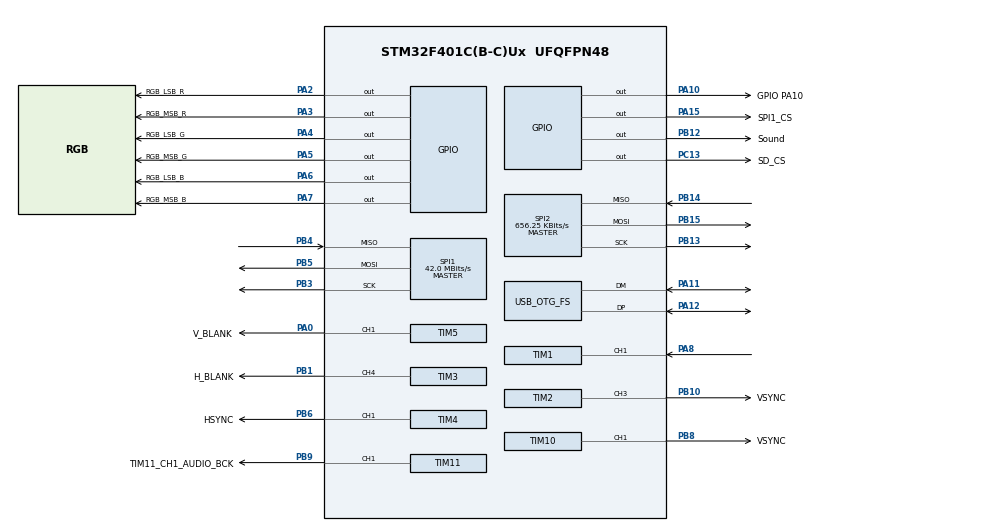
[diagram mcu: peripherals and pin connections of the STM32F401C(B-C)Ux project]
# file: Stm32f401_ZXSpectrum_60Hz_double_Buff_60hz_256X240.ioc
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Dma.Request0=TIM1_UP
Dma.TIM1_UP.0.Direction=DMA_MEMORY_TO_PERIPH
Dma.TIM1_UP.0.FIFOMode=DMA_FIFOMODE_DISABLE
Dma.TIM1_UP.0.Instance=DMA2_Stream5
Dma.TIM1_UP.0.MemDataAlignment=DMA_MDATAALIGN_WORD
Dma.TIM1_UP.0.MemInc=DMA_MINC_ENABLE
Dma.TIM1_UP.0.Mode=DMA_NORMAL
Dma.TIM1_UP.0.PeriphDataAlignment=DMA_PDATAALIGN_WORD
Dma.TIM1_UP.0.PeriphInc=DMA_PINC_DISABLE
Dma.TIM1_UP.0.Priority=DMA_PRIORITY_VERY_HIGH
Mcu.Family=STM32F4
Mcu.Name=STM32F401C(B-C)Ux
Mcu.Package=UFQFPN48
NVIC.OTG_FS_IRQn=true\:0\:0\:false\:false\:true\:true\:true\:true
NVIC.PriorityGroup=NVIC_PRIORITYGROUP_4
PA0-WKUP.GPIO_Label=V_BLANK
PA0-WKUP.Signal=S_TIM5_CH1
PA10.GPIO_Label=GPIO PA10
PA10.Signal=GPIO_Output
PA11.Mode=Host_Only
PA11.Signal=USB_OTG_FS_DM
PA12.Mode=Host_Only
PA12.Signal=USB_OTG_FS_DP
PA13.Mode=Serial_Wire
PA13.Signal=SYS_JTMS-SWDIO
PA14.Mode=Serial_Wire
PA14.Signal=SYS_JTCK-SWCLK
PA15.GPIO_Label=SPI1_CS
PA15.GPIO_Speed=GPIO_SPEED_FREQ_VERY_HIGH
PA15.PinState=GPIO_PIN_SET
PA15.Signal=GPIO_Output
PA2.GPIO_Label=RGB_LSB_R
PA2.GPIO_Speed=GPIO_SPEED_FREQ_VERY_HIGH
PA2.Signal=GPIO_Output
PA3.GPIO_Label=RGB_MSB_R
PA3.GPIO_Speed=GPIO_SPEED_FREQ_VERY_HIGH
PA3.Signal=GPIO_Output
PA4.GPIO_Label=RGB_LSB_G
PA4.GPIO_Speed=GPIO_SPEED_FREQ_VERY_HIGH
PA4.Signal=GPIO_Output
PA5.GPIO_Label=RGB_MSB_G
PA5.GPIO_Speed=GPIO_SPEED_FREQ_VERY_HIGH
PA5.Signal=GPIO_Output
PA6.GPIO_Label=RGB_LSB_B
PA6.GPIO_Speed=GPIO_SPEED_FREQ_VERY_HIGH
PA6.Signal=GPIO_Output
PA7.GPIO_Label=RGB_MSB_B
PA7.GPIO_Speed=GPIO_SPEED_FREQ_VERY_HIGH
PA7.Signal=GPIO_Output
PA8.Signal=S_TIM1_CH1
PB1.GPIO_Label=H_BLANK
PB1.Signal=S_TIM3_CH4
PB10.GPIO_Label=VSYNC
PB10.Signal=S_TIM2_CH3
PB12.GPIO_Label=Sound
PB12.GPIO_Speed=GPIO_SPEED_FREQ_MEDIUM
PB12.Signal=GPIO_Output
PB13.Mode=Full_Duplex_Master
PB13.Signal=SPI2_SCK
PB14.Mode=Full_Duplex_Master
PB14.Signal=SPI2_MISO
PB15.Mode=Full_Duplex_Master
PB15.Signal=SPI2_MOSI
PB3.Mode=Full_Duplex_Master
PB3.Signal=SPI1_SCK
PB4.Mode=Full_Duplex_Master
PB4.Signal=SPI1_MISO
PB5.Mode=Full_Duplex_Master
PB5.Signal=SPI1_MOSI
PB6.GPIO_Label=HSYNC
PB6.GPIO_Speed=GPIO_SPEED_FREQ_HIGH
PB6.Signal=S_TIM4_CH1
PB8.GPIO_Label=VSYNC
PB8.GPIO_Speed=GPIO_SPEED_FREQ_MEDIUM
PB8.Signal=S_TIM10_CH1
PB9.GPIO_Label=TIM11_CH1_AUDIO_BCK
PB9.GPIO_Speed=GPIO_SPEED_FREQ_HIGH
PB9.Signal=S_TIM11_CH1
PC13-ANTI_TAMP.GPIO_Label=SD_CS
PC13-ANTI_TAMP.Signal=GPIO_Output
PC14-OSC32_IN.Mode=LSE-External-Oscillator
PC14-OSC32_IN.Signal=RCC_OSC32_IN
PC15-OSC32_OUT.Mode=LSE-External-Oscillator
PC15-OSC32_OUT.Signal=RCC_OSC32_OUT
PH0\ -\ OSC_IN.Mode=HSE-External-Oscillator
PH0\ -\ OSC_IN.Signal=RCC_OSC_IN
PH1\ -\ OSC_OUT.Mode=HSE-External-Oscillator
PH1\ -\ OSC_OUT.Signal=RCC_OSC_OUT
ProjectManager.HeapSize=0x200
ProjectManager.StackSize=0x400
ProjectManager.TargetToolchain=STM32CubeIDE
RCC.48MHZClocksFreq_Value=48000000
RCC.AHBFreq_Value=84000000
RCC.APB1CLKDivider=RCC_HCLK_DIV2
RCC.APB1Freq_Value=42000000
RCC.APB1TimFreq_Value=84000000
RCC.APB2Freq_Value=84000000
RCC.APB2TimFreq_Value=84000000
RCC.CortexFreq_Value=84000000
RCC.HCLKFreq_Value=84000000
RCC.HSE_VALUE=25000000
RCC.HSI_VALUE=16000000
RCC.PLLM=25
RCC.PLLN=336
RCC.PLLP=RCC_PLLP_DIV4
RCC.PLLQ=7
RCC.SYSCLKFreq_VALUE=84000000
RCC.SYSCLKSource=RCC_SYSCLKSOURCE_PLLCLK
RCC.VCOOutputFreq_Value=336000000
SH.S_TIM10_CH1.0=TIM10_CH1,PWM Generation1 CH1
SH.S_TIM11_CH1.0=TIM11_CH1,PWM Generation1 CH1
SH.S_TIM1_CH1.0=TIM1_CH1,TriggerSource_TI1FP1
SH.S_TIM2_CH3.0=TIM2_CH3,PWM Generation3 CH3
SH.S_TIM3_CH4.0=TIM3_CH4,PWM Generation4 CH4
SH.S_TIM4_CH1.0=TIM4_CH1,PWM Generation1 CH1
SH.S_TIM5_CH1.0=TIM5_CH1,PWM Generation1 CH1
SPI1.CalculateBaudRate=42.0 MBits/s
SPI1.Direction=SPI_DIRECTION_2LINES
SPI1.Mode=SPI_MODE_MASTER
SPI1.VirtualType=VM_MASTER
SPI2.BaudRatePrescaler=SPI_BAUDRATEPRESCALER_64
SPI2.CalculateBaudRate=656.25 KBits/s
SPI2.Direction=SPI_DIRECTION_2LINES
SPI2.Mode=SPI_MODE_MASTER
SPI2.VirtualType=VM_MASTER
TIM1.Period=9
TIM1.Slave_TriggerPolarity=TIM_TRIGGERPOLARITY_FALLING
TIM1.TIM_MasterOutputTrigger=TIM_TRGO_UPDATE
TIM1.TIM_MasterSlaveMode=TIM_MASTERSLAVEMODE_DISABLE
TIM10.Channel=TIM_CHANNEL_1
TIM10.OCPolarity_1=TIM_OCPOLARITY_LOW
TIM10.Period=16694
TIM10.Prescaler=84-1
TIM10.Pulse=63
TIM11.Channel=TIM_CHANNEL_1
TIM11.Period=200-1
TIM11.Prescaler=84-1
TIM11.Pulse=100
TIM2.Channel-PWM\ Generation3\ CH3=TIM_CHANNEL_3
TIM2.OCPolarity_3=TIM_OCPOLARITY_LOW
TIM2.Period=524
TIM2.Pulse-PWM\ Generation3\ CH3=2
TIM2.TIM_MasterOutputTrigger=TIM_TRGO_UPDATE
TIM3.Channel-PWM\ Generation4\ CH4=TIM_CHANNEL_4
TIM3.OCPolarity_4=TIM_OCPOLARITY_HIGH
TIM3.Period=2844
TIM3.Prescaler=0
TIM3.Pulse-PWM\ Generation4\ CH4=262
TIM4.Channel-PWM\ Generation1\ CH1=TIM_CHANNEL_1
TIM4.OCPolarity_1=TIM_OCPOLARITY_LOW
TIM4.Period=2666
TIM4.Prescaler=0
TIM4.Pulse-PWM\ Generation1\ CH1=160
TIM4.TIM_MasterOutputTrigger=TIM_TRGO_UPDATE
TIM4.TIM_MasterSlaveMode=TIM_MASTERSLAVEMODE_DISABLE
TIM5.Channel-PWM\ Generation1\ CH1=TIM_CHANNEL_1
TIM5.OCPolarity_1=TIM_OCPOLARITY_HIGH
TIM5.Period=1354700
TIM5.Prescaler=0
TIM5.Pulse-PWM\ Generation1\ CH1=74700
TIM5.TIM_MasterOutputTrigger=TIM_TRGO_RESET
USB_HOST.BSP.number=1
USB_HOST.USBH_HandleTypeDef=hUsbHostFS
USB_HOST.VirtualModeFS=Hid
USB_HOST0.BSP.STBoard=false
USB_HOST0.BSP.api=Unknown
USB_HOST0.BSP.condition=SW_VBUS_DRIVE_HID_FS \= false
USB_HOST0.BSP.instance=PA10
USB_HOST0.BSP.ip=GPIO
USB_HOST0.BSP.mode=Output
USB_HOST0.BSP.name=Drive_VBUS_FS
USB_HOST0.BSP.solution=PA10
USB_OTG_FS.VirtualMode=Host_Only
USB_OTG_FS.phy_itface=HCD_PHY_EMBEDDED
VP_TIM10_VS_ClockSourceINT.Mode=Enable_Timer
VP_TIM11_VS_ClockSourceINT.Mode=Enable_Timer
VP_TIM1_VS_ClockSourceINT.Mode=Internal
VP_TIM1_VS_ControllerModeGated.Mode=Gated Mode
VP_TIM2_VS_ClockSourceITR.Mode=TriggerSource_ITR3
VP_TIM2_VS_ControllerModeClock.Mode=Clock Mode
VP_TIM3_VS_ClockSourceINT.Mode=Internal
VP_TIM3_VS_ClockSourceITR.Mode=TriggerSource_ITR3
VP_TIM3_VS_ControllerModeTrigger.Mode=Trigger Mode
VP_TIM3_VS_OPM.Mode=OPM_bit
VP_TIM4_VS_ClockSourceINT.Mode=Internal
VP_TIM5_VS_ClockSourceINT.Mode=Internal
VP_TIM5_VS_ClockSourceITR.Mode=TriggerSource_ITR0
VP_TIM5_VS_ControllerModeTrigger.Mode=Trigger Mode
VP_TIM5_VS_OPM.Mode=OPM_bit
VP_USB_HOST_VS_USB_HOST_HID_FS.Mode=HID_FS
board=custom

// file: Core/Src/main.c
/* USER CODE BEGIN Header */
/**
  ******************************************************************************
  * @file           : main.c
  * @brief          : Main program body
  ******************************************************************************
  * @attention
  *
  * Copyright (c) 2026 STMicroelectronics.
  * All rights reserved.
  *
  * This software is licensed under terms that can be found in the LICENSE file
  * in the root directory of this software component.
  * If no LICENSE file comes with this software, it is provided AS-IS.
  *
  ******************************************************************************
  */
/* USER CODE END Header */
#include "main.h"
#include "usb_host.h"

/* USER CODE BEGIN Includes */
#include "vga.h"
#include "spectrum.h"
#include "z80.h"
#include "video.h"
#include "vga_timing.h"

//#include "usbh_core.h"
#include "usbh_hid.h"
//#include "usbh_hid_keybd.h"
/* USER CODE END Includes */

/* USER CODE BEGIN PD */
#define REPEAT_DELAY_MS   400
#define BTN_STABLE_COUNT  3

#define BIT_A   0
#define BIT_B   1   // ×10
#define BIT_C   2   // T5 ARR
#define BIT_D   3   // ×100
#define BIT_E   4   // T3 CCR
#define BIT_F   5   // T5 CCR
#define BIT_G   6   // minus/plus toggle
#define BIT_H   7   // T3 ARR

/* USER CODE END PD */

/* USER CODE BEGIN PV */
int multiplier = 10;
static uint8_t sign_positive = 1;

#if 0
static uint8_t btn_last_raw = 0xFF;
static uint8_t btn_stable   = 0xFF;
static uint8_t btn_counter  = 0;

static uint32_t last_press_time[8] = {0};

static const int step_table[] = { 1, 10, 100, 1000 };
static uint8_t step_index = 0;
#endif
/* USER CODE END PV */

void SystemClock_Config(void);
static void MX_GPIO_Init(void);
static void MX_DMA_Init(void);
static void MX_SPI1_Init(void);
static void MX_SPI2_Init(void);
static void MX_TIM10_Init(void);
static void MX_TIM1_Init(void);
static void MX_TIM4_Init(void);
static void MX_TIM11_Init(void);
static void MX_TIM2_Init(void);
static void MX_TIM3_Init(void);
static void MX_TIM5_Init(void);
void MX_USB_HOST_Process(void);

/* USER CODE BEGIN PFP */

static inline void update_sign_led(void);
uint8_t button_repeat(uint8_t b);
void USBH_HID_EventCallback(USBH_HandleTypeDef *phost);
void Keyboard_HandleKey(uint8_t key);
//void getTimes(void);

//uint8_t Buttons_Get(void);
//static inline uint8_t Buttons_ReadRaw(void);
//static inline int get_multiplier(uint8_t b);
//static inline uint8_t button_repeat(uint8_t b, int bit);
//void Tuning_Update(void);

/* USER CODE END PFP */

/* USER CODE BEGIN 0 */
void USBH_HID_EventCallback(USBH_HandleTypeDef *phost)
{
#if 0
	//LL_GPIO_TogglePin(GPIOC, LL_GPIO_PIN_13);
	if (USBH_HID_GetDeviceType(phost) == HID_MOUSE)
	{
		HID_MOUSE_Info_TypeDef *Mouse_Info;
		Mouse_Info = USBH_HID_GetMouseInfo(phost);
		int X_VAL = Mouse_Info->x;
		int Y_VAL = Mouse_Info->y;
		if (X_VAL > 127) X_VAL -= 255;
		if (Y_VAL > 127) Y_VAL -= 255;

		int len = sprintf (Uart_Buf, "X=%d, Y=%d, Button1=%d, Button2=%d, Button3=%d\n", X_VAL, Y_VAL, \
				                                Mouse_Info->buttons[0],Mouse_Info->buttons[1], Mouse_Info->buttons[2]);
		HAL_UART_Transmit(&huart2, (uint8_t *)Uart_Buf, len, 1000);

	}
#endif
	if (USBH_HID_GetDeviceType(phost) == HID_KEYBOARD)
	{
		HID_KEYBD_Info_TypeDef *Keyboard_Info;
		Keyboard_Info = USBH_HID_GetKeybdInfo(phost);
		char key = USBH_HID_GetASCIICode (Keyboard_Info);

		//int len = sprintf (Uart_Buf, "Key Pressed = %c\n", key);
		//HAL_UART_Transmit(&huart2, (uint8_t *)Uart_Buf, len, 1000);
	    if (key != 0) {
	        Keyboard_HandleKey(key);
	    }
	}
}
/* USER CODE END 0 */

int main(void)
{

  /* MCU Configuration--------------------------------------------------------*/

  /* Reset of all peripherals, Initializes the Flash interface and the Systick. */
  HAL_Init();

  /* Configure the system clock */
  SystemClock_Config();

  /* Initialize all configured peripherals */
  MX_GPIO_Init();
  MX_DMA_Init();
  MX_SPI1_Init();
  MX_SPI2_Init();
  MX_TIM10_Init();
  MX_TIM1_Init();
  MX_TIM4_Init();
  MX_TIM11_Init();
  MX_TIM2_Init();
  MX_TIM3_Init();
  MX_TIM5_Init();
  MX_USB_HOST_Init();
  /* USER CODE BEGIN 2 */
  //uint16_t usb_poll_div = 0;
  getTimes();
  spectrum_init();
  vga_timing_init(); // TIM1/TIM3/TIM4 setup
  video_recompute_vertical_window();

  vga_init(); // DMA + pixel buffer setup

  vga_init_border_line();
  // Build a bar pattern directly into a packed buffer once
#if 0
  for (int i = 0; i < H_VISIBLE_PIX; i++)
  {
      uint8_t pix = (i & 0x20) ? 0x07 : 0x38;

      int r = (pix >> 0) & 3;
      int g = (pix >> 2) & 3;
      int b = (pix >> 4) & 3;

      flat[i] = VGA_PACK_RGB(r, g, b);
  }
#endif
  vga_timing_start(); // start pixel clock
  sync_to_vsync();

  //uint16_t last_line = 0;

  /* USER CODE END 2 */

  /* Infinite loop */
  /* USER CODE BEGIN WHILE */
  while (1)
  {

	  if (t5_cnt + margin >= activeFstart && t5_cnt < TIM5->ARR)
	  {
	      // We're close enough to active: start servicing lines
	      video_line_step();
	  }
#if 0

	  if (!LL_DMA_IsActiveFlag_TC5(DMA2) && dmaStarted)
	  {
		    LL_DMA_ClearFlag_TC5(DMA2);
		    if (repeat == swap_line)
		    {
		     swapBuffers();
		    }
		    ReArmDMA();
		    repeat ^= 1;
		    dmaStarted = 0;
      }
#endif

#if 0
	      if (GPIOA->IDR & V_BLANK_Pin)
	      {
	    	  video_update_osd_values();
	      }

	      // Only think about USB outside visible lines
	      // Poll USB once per 2 frames, near the top, outside visible area
	      //MX_USB_HOST_Process();

	      static uint16_t frame_counter = 0;

	      static uint8_t in_vblank = 0;

	      uint8_t usb_blank = (GPIOA->IDR & V_BLANK_Pin) ? 1 : 0;
	      if (usb_blank)
	      {
	    	  frame_counter++;
	      }

if (frame_counter == 2)
{
	frame_counter=0;
	      if (usb_blank)
	      {
	          // We are inside vblank: run USB as much as possible
	          MX_USB_HOST_Process();
	          in_vblank = 1;
	      }
	      else
	      {
	          // We just left vblank
	          in_vblank = 0;
	      }
}

    /* USER CODE END WHILE */
    MX_USB_HOST_Process();
#endif
  }
}

void SystemClock_Config(void)
{
  LL_FLASH_SetLatency(LL_FLASH_LATENCY_2);
  while(LL_FLASH_GetLatency()!= LL_FLASH_LATENCY_2)
  {
  }
  LL_PWR_SetRegulVoltageScaling(LL_PWR_REGU_VOLTAGE_SCALE2);
  LL_RCC_HSE_Enable();

   /* Wait till HSE is ready */
  while(LL_RCC_HSE_IsReady() != 1)
  {

  }
  LL_RCC_PLL_ConfigDomain_SYS(LL_RCC_PLLSOURCE_HSE, LL_RCC_PLLM_DIV_25, 336, LL_RCC_PLLP_DIV_4);
  LL_RCC_PLL_ConfigDomain_48M(LL_RCC_PLLSOURCE_HSE, LL_RCC_PLLM_DIV_25, 336, LL_RCC_PLLQ_DIV_7);
  LL_RCC_PLL_Enable();

   /* Wait till PLL is ready */
  while(LL_RCC_PLL_IsReady() != 1)
  {

  }
  while (LL_PWR_IsActiveFlag_VOS() == 0)
  {
  }
  LL_RCC_SetAHBPrescaler(LL_RCC_SYSCLK_DIV_1);
  LL_RCC_SetAPB1Prescaler(LL_RCC_APB1_DIV_2);
  LL_RCC_SetAPB2Prescaler(LL_RCC_APB2_DIV_1);
  LL_RCC_SetSysClkSource(LL_RCC_SYS_CLKSOURCE_PLL);

   /* Wait till System clock is ready */
  while(LL_RCC_GetSysClkSource() != LL_RCC_SYS_CLKSOURCE_STATUS_PLL)
  {

  }
  LL_SetSystemCoreClock(84000000);

   /* Update the time base */
  if (HAL_InitTick (TICK_INT_PRIORITY) != HAL_OK)
  {
    Error_Handler();
  }
  LL_RCC_SetTIMPrescaler(LL_RCC_TIM_PRESCALER_TWICE);
}

static void MX_SPI1_Init(void)
{

  LL_SPI_InitTypeDef SPI_InitStruct = {0};

  LL_GPIO_InitTypeDef GPIO_InitStruct = {0};

  /* Peripheral clock enable */
  LL_APB2_GRP1_EnableClock(LL_APB2_GRP1_PERIPH_SPI1);

  LL_AHB1_GRP1_EnableClock(LL_AHB1_GRP1_PERIPH_GPIOB);
  /**SPI1 GPIO Configuration
  PB3   ------> SPI1_SCK
  PB4   ------> SPI1_MISO
  PB5   ------> SPI1_MOSI
  */
  GPIO_InitStruct.Pin = LL_GPIO_PIN_3|LL_GPIO_PIN_4|LL_GPIO_PIN_5;
  GPIO_InitStruct.Mode = LL_GPIO_MODE_ALTERNATE;
  GPIO_InitStruct.Speed = LL_GPIO_SPEED_FREQ_VERY_HIGH;
  GPIO_InitStruct.OutputType = LL_GPIO_OUTPUT_PUSHPULL;
  GPIO_InitStruct.Pull = LL_GPIO_PULL_NO;
  GPIO_InitStruct.Alternate = LL_GPIO_AF_5;
  LL_GPIO_Init(GPIOB, &GPIO_InitStruct);

  /* SPI1 parameter configuration*/
  SPI_InitStruct.TransferDirection = LL_SPI_FULL_DUPLEX;
  SPI_InitStruct.Mode = LL_SPI_MODE_MASTER;
  SPI_InitStruct.DataWidth = LL_SPI_DATAWIDTH_8BIT;
  SPI_InitStruct.ClockPolarity = LL_SPI_POLARITY_LOW;
  SPI_InitStruct.ClockPhase = LL_SPI_PHASE_1EDGE;
  SPI_InitStruct.NSS = LL_SPI_NSS_SOFT;
  SPI_InitStruct.BaudRate = LL_SPI_BAUDRATEPRESCALER_DIV2;
  SPI_InitStruct.BitOrder = LL_SPI_MSB_FIRST;
  SPI_InitStruct.CRCCalculation = LL_SPI_CRCCALCULATION_DISABLE;
  SPI_InitStruct.CRCPoly = 10;
  LL_SPI_Init(SPI1, &SPI_InitStruct);
  LL_SPI_SetStandard(SPI1, LL_SPI_PROTOCOL_MOTOROLA);
  /* USER CODE BEGIN SPI1_Init 2 */
  LL_SPI_Enable(SPI1);
  /* USER CODE END SPI1_Init 2 */

}

static void MX_SPI2_Init(void)
{

  LL_SPI_InitTypeDef SPI_InitStruct = {0};

  LL_GPIO_InitTypeDef GPIO_InitStruct = {0};

  /* Peripheral clock enable */
  LL_APB1_GRP1_EnableClock(LL_APB1_GRP1_PERIPH_SPI2);

  LL_AHB1_GRP1_EnableClock(LL_AHB1_GRP1_PERIPH_GPIOB);
  /**SPI2 GPIO Configuration
  PB13   ------> SPI2_SCK
  PB14   ------> SPI2_MISO
  PB15   ------> SPI2_MOSI
  */
  GPIO_InitStruct.Pin = LL_GPIO_PIN_13|LL_GPIO_PIN_14|LL_GPIO_PIN_15;
  GPIO_InitStruct.Mode = LL_GPIO_MODE_ALTERNATE;
  GPIO_InitStruct.Speed = LL_GPIO_SPEED_FREQ_VERY_HIGH;
  GPIO_InitStruct.OutputType = LL_GPIO_OUTPUT_PUSHPULL;
  GPIO_InitStruct.Pull = LL_GPIO_PULL_NO;
  GPIO_InitStruct.Alternate = LL_GPIO_AF_5;
  LL_GPIO_Init(GPIOB, &GPIO_InitStruct);

  /* SPI2 parameter configuration*/
  SPI_InitStruct.TransferDirection = LL_SPI_FULL_DUPLEX;
  SPI_InitStruct.Mode = LL_SPI_MODE_MASTER;
  SPI_InitStruct.DataWidth = LL_SPI_DATAWIDTH_8BIT;
  SPI_InitStruct.ClockPolarity = LL_SPI_POLARITY_LOW;
  SPI_InitStruct.ClockPhase = LL_SPI_PHASE_1EDGE;
  SPI_InitStruct.NSS = LL_SPI_NSS_SOFT;
  SPI_InitStruct.BaudRate = LL_SPI_BAUDRATEPRESCALER_DIV64;
  SPI_InitStruct.BitOrder = LL_SPI_MSB_FIRST;
  SPI_InitStruct.CRCCalculation = LL_SPI_CRCCALCULATION_DISABLE;
  SPI_InitStruct.CRCPoly = 10;
  LL_SPI_Init(SPI2, &SPI_InitStruct);
  LL_SPI_SetStandard(SPI2, LL_SPI_PROTOCOL_MOTOROLA);

}

static void MX_TIM1_Init(void)
{

  LL_TIM_InitTypeDef TIM_InitStruct = {0};

  LL_GPIO_InitTypeDef GPIO_InitStruct = {0};

  /* Peripheral clock enable */
  LL_APB2_GRP1_EnableClock(LL_APB2_GRP1_PERIPH_TIM1);

  LL_AHB1_GRP1_EnableClock(LL_AHB1_GRP1_PERIPH_GPIOA);
  /**TIM1 GPIO Configuration
  PA8   ------> TIM1_CH1
  */
  GPIO_InitStruct.Pin = LL_GPIO_PIN_8;
  GPIO_InitStruct.Mode = LL_GPIO_MODE_ALTERNATE;
  GPIO_InitStruct.Speed = LL_GPIO_SPEED_FREQ_LOW;
  GPIO_InitStruct.OutputType = LL_GPIO_OUTPUT_PUSHPULL;
  GPIO_InitStruct.Pull = LL_GPIO_PULL_NO;
  GPIO_InitStruct.Alternate = LL_GPIO_AF_1;
  LL_GPIO_Init(GPIOA, &GPIO_InitStruct);

  /* TIM1 DMA Init */

  /* TIM1_UP Init */
  LL_DMA_SetChannelSelection(DMA2, LL_DMA_STREAM_5, LL_DMA_CHANNEL_6);

  LL_DMA_SetDataTransferDirection(DMA2, LL_DMA_STREAM_5, LL_DMA_DIRECTION_MEMORY_TO_PERIPH);

  LL_DMA_SetStreamPriorityLevel(DMA2, LL_DMA_STREAM_5, LL_DMA_PRIORITY_VERYHIGH);

  LL_DMA_SetMode(DMA2, LL_DMA_STREAM_5, LL_DMA_MODE_NORMAL);

  LL_DMA_SetPeriphIncMode(DMA2, LL_DMA_STREAM_5, LL_DMA_PERIPH_NOINCREMENT);

  LL_DMA_SetMemoryIncMode(DMA2, LL_DMA_STREAM_5, LL_DMA_MEMORY_INCREMENT);

  LL_DMA_SetPeriphSize(DMA2, LL_DMA_STREAM_5, LL_DMA_PDATAALIGN_WORD);

  LL_DMA_SetMemorySize(DMA2, LL_DMA_STREAM_5, LL_DMA_MDATAALIGN_WORD);

  LL_DMA_DisableFifoMode(DMA2, LL_DMA_STREAM_5);

  TIM_InitStruct.Prescaler = 0;
  TIM_InitStruct.CounterMode = LL_TIM_COUNTERMODE_UP;
  TIM_InitStruct.Autoreload = 9;
  TIM_InitStruct.ClockDivision = LL_TIM_CLOCKDIVISION_DIV1;
  TIM_InitStruct.RepetitionCounter = 0;
  LL_TIM_Init(TIM1, &TIM_InitStruct);
  LL_TIM_DisableARRPreload(TIM1);
  LL_TIM_SetClockSource(TIM1, LL_TIM_CLOCKSOURCE_INTERNAL);
  LL_TIM_SetTriggerInput(TIM1, LL_TIM_TS_TI1FP1);
  LL_TIM_SetSlaveMode(TIM1, LL_TIM_SLAVEMODE_GATED);
  LL_TIM_IC_SetFilter(TIM1, LL_TIM_CHANNEL_CH1, LL_TIM_IC_FILTER_FDIV1);
  LL_TIM_IC_SetPolarity(TIM1, LL_TIM_CHANNEL_CH1, LL_TIM_IC_POLARITY_FALLING);
  LL_TIM_DisableIT_TRIG(TIM1);
  LL_TIM_DisableDMAReq_TRIG(TIM1);
  LL_TIM_SetTriggerOutput(TIM1, LL_TIM_TRGO_UPDATE);
  LL_TIM_DisableMasterSlaveMode(TIM1);
  /* USER CODE BEGIN TIM1_Init 2 */
  LL_TIM_EnableCounter(TIM1);
  //LL_TIM_CC_EnableChannel(TIM1, LL_TIM_CHANNEL_CH2);
  LL_TIM_EnableAllOutputs(TIM1);
  LL_TIM_EnableDMAReq_UPDATE(TIM1);

  /* USER CODE END TIM1_Init 2 */

}

static void MX_TIM2_Init(void)
{

  LL_TIM_InitTypeDef TIM_InitStruct = {0};
  LL_TIM_OC_InitTypeDef TIM_OC_InitStruct = {0};

  LL_GPIO_InitTypeDef GPIO_InitStruct = {0};

  /* Peripheral clock enable */
  LL_APB1_GRP1_EnableClock(LL_APB1_GRP1_PERIPH_TIM2);

  TIM_InitStruct.Prescaler = 0;
  TIM_InitStruct.CounterMode = LL_TIM_COUNTERMODE_UP;
  TIM_InitStruct.Autoreload = 524;
  TIM_InitStruct.ClockDivision = LL_TIM_CLOCKDIVISION_DIV1;
  LL_TIM_Init(TIM2, &TIM_InitStruct);
  LL_TIM_DisableARRPreload(TIM2);
  LL_TIM_OC_EnablePreload(TIM2, LL_TIM_CHANNEL_CH3);
  TIM_OC_InitStruct.OCMode = LL_TIM_OCMODE_PWM1;
  TIM_OC_InitStruct.OCState = LL_TIM_OCSTATE_DISABLE;
  TIM_OC_InitStruct.OCNState = LL_TIM_OCSTATE_DISABLE;
  TIM_OC_InitStruct.CompareValue = 2;
  TIM_OC_InitStruct.OCPolarity = LL_TIM_OCPOLARITY_LOW;
  LL_TIM_OC_Init(TIM2, LL_TIM_CHANNEL_CH3, &TIM_OC_InitStruct);
  LL_TIM_OC_DisableFast(TIM2, LL_TIM_CHANNEL_CH3);
  LL_TIM_SetTriggerInput(TIM2, LL_TIM_TS_ITR3);
  LL_TIM_SetClockSource(TIM2, LL_TIM_CLOCKSOURCE_EXT_MODE1);
  LL_TIM_DisableIT_TRIG(TIM2);
  LL_TIM_DisableDMAReq_TRIG(TIM2);
  LL_TIM_SetTriggerOutput(TIM2, LL_TIM_TRGO_UPDATE);
  LL_TIM_DisableMasterSlaveMode(TIM2);
  /* USER CODE BEGIN TIM2_Init 2 */
  LL_TIM_CC_EnableChannel(TIM2, LL_TIM_CHANNEL_CH3);
  LL_TIM_EnableCounter(TIM2);

  /* USER CODE END TIM2_Init 2 */
  LL_AHB1_GRP1_EnableClock(LL_AHB1_GRP1_PERIPH_GPIOB);
  /**TIM2 GPIO Configuration
  PB10   ------> TIM2_CH3
  */
  GPIO_InitStruct.Pin = VSYNC_Pin;
  GPIO_InitStruct.Mode = LL_GPIO_MODE_ALTERNATE;
  GPIO_InitStruct.Speed = LL_GPIO_SPEED_FREQ_LOW;
  GPIO_InitStruct.OutputType = LL_GPIO_OUTPUT_PUSHPULL;
  GPIO_InitStruct.Pull = LL_GPIO_PULL_NO;
  GPIO_InitStruct.Alternate = LL_GPIO_AF_1;
  LL_GPIO_Init(VSYNC_GPIO_Port, &GPIO_InitStruct);

}

static void MX_TIM3_Init(void)
{

  LL_TIM_InitTypeDef TIM_InitStruct = {0};
  LL_TIM_OC_InitTypeDef TIM_OC_InitStruct = {0};

  LL_GPIO_InitTypeDef GPIO_InitStruct = {0};

  /* Peripheral clock enable */
  LL_APB1_GRP1_EnableClock(LL_APB1_GRP1_PERIPH_TIM3);

  /* USER CODE BEGIN TIM3_Init 1 */

  //old arr 2580;
  //old ccr 480

  /* USER CODE END TIM3_Init 1 */
  TIM_InitStruct.Prescaler = 0;
  TIM_InitStruct.CounterMode = LL_TIM_COUNTERMODE_UP;
  TIM_InitStruct.Autoreload = 2844;
  TIM_InitStruct.ClockDivision = LL_TIM_CLOCKDIVISION_DIV1;
  LL_TIM_Init(TIM3, &TIM_InitStruct);
  LL_TIM_DisableARRPreload(TIM3);
  LL_TIM_SetClockSource(TIM3, LL_TIM_CLOCKSOURCE_INTERNAL);
  LL_TIM_OC_EnablePreload(TIM3, LL_TIM_CHANNEL_CH4);
  TIM_OC_InitStruct.OCMode = LL_TIM_OCMODE_PWM1;
  TIM_OC_InitStruct.OCState = LL_TIM_OCSTATE_DISABLE;
  TIM_OC_InitStruct.OCNState = LL_TIM_OCSTATE_DISABLE;
  TIM_OC_InitStruct.CompareValue = 262;
  TIM_OC_InitStruct.OCPolarity = LL_TIM_OCPOLARITY_HIGH;
  LL_TIM_OC_Init(TIM3, LL_TIM_CHANNEL_CH4, &TIM_OC_InitStruct);
  LL_TIM_OC_DisableFast(TIM3, LL_TIM_CHANNEL_CH4);
  LL_TIM_SetOnePulseMode(TIM3, LL_TIM_ONEPULSEMODE_SINGLE);
  LL_TIM_SetTriggerInput(TIM3, LL_TIM_TS_ITR3);
  LL_TIM_SetSlaveMode(TIM3, LL_TIM_SLAVEMODE_TRIGGER);
  LL_TIM_DisableIT_TRIG(TIM3);
  LL_TIM_DisableDMAReq_TRIG(TIM3);
  LL_TIM_SetTriggerOutput(TIM3, LL_TIM_TRGO_RESET);
  LL_TIM_DisableMasterSlaveMode(TIM3);
  /* USER CODE BEGIN TIM3_Init 2 */

  LL_TIM_CC_EnableChannel(TIM3, LL_TIM_CHANNEL_CH4);
  LL_TIM_EnableCounter(TIM3);
  /* USER CODE END TIM3_Init 2 */
  LL_AHB1_GRP1_EnableClock(LL_AHB1_GRP1_PERIPH_GPIOB);
  /**TIM3 GPIO Configuration
  PB1   ------> TIM3_CH4
  */
  GPIO_InitStruct.Pin = H_BLANK_Pin;
  GPIO_InitStruct.Mode = LL_GPIO_MODE_ALTERNATE;
  GPIO_InitStruct.Speed = LL_GPIO_SPEED_FREQ_LOW;
  GPIO_InitStruct.OutputType = LL_GPIO_OUTPUT_PUSHPULL;
  GPIO_InitStruct.Pull = LL_GPIO_PULL_NO;
  GPIO_InitStruct.Alternate = LL_GPIO_AF_2;
  LL_GPIO_Init(H_BLANK_GPIO_Port, &GPIO_InitStruct);

}

static void MX_TIM4_Init(void)
{

  LL_TIM_InitTypeDef TIM_InitStruct = {0};
  LL_TIM_OC_InitTypeDef TIM_OC_InitStruct = {0};

  LL_GPIO_InitTypeDef GPIO_InitStruct = {0};

  /* Peripheral clock enable */
  LL_APB1_GRP1_EnableClock(LL_APB1_GRP1_PERIPH_TIM4);

  TIM_InitStruct.Prescaler = 0;
  TIM_InitStruct.CounterMode = LL_TIM_COUNTERMODE_UP;
  TIM_InitStruct.Autoreload = 2666;
  TIM_InitStruct.ClockDivision = LL_TIM_CLOCKDIVISION_DIV1;
  LL_TIM_Init(TIM4, &TIM_InitStruct);
  LL_TIM_DisableARRPreload(TIM4);
  LL_TIM_SetClockSource(TIM4, LL_TIM_CLOCKSOURCE_INTERNAL);
  LL_TIM_OC_EnablePreload(TIM4, LL_TIM_CHANNEL_CH1);
  TIM_OC_InitStruct.OCMode = LL_TIM_OCMODE_PWM1;
  TIM_OC_InitStruct.OCState = LL_TIM_OCSTATE_DISABLE;
  TIM_OC_InitStruct.OCNState = LL_TIM_OCSTATE_DISABLE;
  TIM_OC_InitStruct.CompareValue = 160;
  TIM_OC_InitStruct.OCPolarity = LL_TIM_OCPOLARITY_LOW;
  LL_TIM_OC_Init(TIM4, LL_TIM_CHANNEL_CH1, &TIM_OC_InitStruct);
  LL_TIM_OC_DisableFast(TIM4, LL_TIM_CHANNEL_CH1);
  LL_TIM_SetTriggerOutput(TIM4, LL_TIM_TRGO_UPDATE);
  LL_TIM_DisableMasterSlaveMode(TIM4);
  /* USER CODE BEGIN TIM4_Init 2 */

  TIM_OC_InitStruct.OCState = LL_TIM_OCSTATE_ENABLE;
  LL_TIM_EnableCounter(TIM4);
  LL_TIM_CC_EnableChannel(TIM4, LL_TIM_CHANNEL_CH1);
  LL_TIM_EnableIT_UPDATE(TIM4);

  /* USER CODE END TIM4_Init 2 */
  LL_AHB1_GRP1_EnableClock(LL_AHB1_GRP1_PERIPH_GPIOB);
  /**TIM4 GPIO Configuration
  PB6   ------> TIM4_CH1
  */
  GPIO_InitStruct.Pin = HSYNC_Pin;
  GPIO_InitStruct.Mode = LL_GPIO_MODE_ALTERNATE;
  GPIO_InitStruct.Speed = LL_GPIO_SPEED_FREQ_HIGH;
  GPIO_InitStruct.OutputType = LL_GPIO_OUTPUT_PUSHPULL;
  GPIO_InitStruct.Pull = LL_GPIO_PULL_NO;
  GPIO_InitStruct.Alternate = LL_GPIO_AF_2;
  LL_GPIO_Init(HSYNC_GPIO_Port, &GPIO_InitStruct);

}

static void MX_TIM5_Init(void)
{

  LL_TIM_InitTypeDef TIM_InitStruct = {0};
  LL_TIM_OC_InitTypeDef TIM_OC_InitStruct = {0};

  LL_GPIO_InitTypeDef GPIO_InitStruct = {0};

  /* Peripheral clock enable */
  LL_APB1_GRP1_EnableClock(LL_APB1_GRP1_PERIPH_TIM5);

  TIM_InitStruct.Prescaler = 0;
  TIM_InitStruct.CounterMode = LL_TIM_COUNTERMODE_UP;
  TIM_InitStruct.Autoreload = 1354700;
  TIM_InitStruct.ClockDivision = LL_TIM_CLOCKDIVISION_DIV1;
  LL_TIM_Init(TIM5, &TIM_InitStruct);
  LL_TIM_DisableARRPreload(TIM5);
  LL_TIM_SetClockSource(TIM5, LL_TIM_CLOCKSOURCE_INTERNAL);
  LL_TIM_OC_EnablePreload(TIM5, LL_TIM_CHANNEL_CH1);
  TIM_OC_InitStruct.OCMode = LL_TIM_OCMODE_PWM1;
  TIM_OC_InitStruct.OCState = LL_TIM_OCSTATE_DISABLE;
  TIM_OC_InitStruct.OCNState = LL_TIM_OCSTATE_DISABLE;
  TIM_OC_InitStruct.CompareValue = 74700;
  TIM_OC_InitStruct.OCPolarity = LL_TIM_OCPOLARITY_HIGH;
  LL_TIM_OC_Init(TIM5, LL_TIM_CHANNEL_CH1, &TIM_OC_InitStruct);
  LL_TIM_OC_DisableFast(TIM5, LL_TIM_CHANNEL_CH1);
  LL_TIM_SetOnePulseMode(TIM5, LL_TIM_ONEPULSEMODE_SINGLE);
  LL_TIM_SetTriggerInput(TIM5, LL_TIM_TS_ITR0);
  LL_TIM_SetSlaveMode(TIM5, LL_TIM_SLAVEMODE_TRIGGER);
  LL_TIM_DisableIT_TRIG(TIM5);
  LL_TIM_DisableDMAReq_TRIG(TIM5);
  LL_TIM_SetTriggerOutput(TIM5, LL_TIM_TRGO_RESET);
  LL_TIM_DisableMasterSlaveMode(TIM5);
  /* USER CODE BEGIN TIM5_Init 2 */

  LL_TIM_CC_EnableChannel(TIM5, LL_TIM_CHANNEL_CH1);
  LL_TIM_EnableCounter(TIM5);

  /* USER CODE END TIM5_Init 2 */
  LL_AHB1_GRP1_EnableClock(LL_AHB1_GRP1_PERIPH_GPIOA);
  /**TIM5 GPIO Configuration
  PA0-WKUP   ------> TIM5_CH1
  */
  GPIO_InitStruct.Pin = V_BLANK_Pin;
  GPIO_InitStruct.Mode = LL_GPIO_MODE_ALTERNATE;
  GPIO_InitStruct.Speed = LL_GPIO_SPEED_FREQ_LOW;
  GPIO_InitStruct.OutputType = LL_GPIO_OUTPUT_PUSHPULL;
  GPIO_InitStruct.Pull = LL_GPIO_PULL_NO;
  GPIO_InitStruct.Alternate = LL_GPIO_AF_2;
  LL_GPIO_Init(V_BLANK_GPIO_Port, &GPIO_InitStruct);

}

static void MX_TIM10_Init(void)
{

  LL_TIM_InitTypeDef TIM_InitStruct = {0};
  LL_TIM_OC_InitTypeDef TIM_OC_InitStruct = {0};

  LL_GPIO_InitTypeDef GPIO_InitStruct = {0};

  /* Peripheral clock enable */
  LL_APB2_GRP1_EnableClock(LL_APB2_GRP1_PERIPH_TIM10);

  TIM_InitStruct.Prescaler = 83;
  TIM_InitStruct.CounterMode = LL_TIM_COUNTERMODE_UP;
  TIM_InitStruct.Autoreload = 16694;
  TIM_InitStruct.ClockDivision = LL_TIM_CLOCKDIVISION_DIV1;
  LL_TIM_Init(TIM10, &TIM_InitStruct);
  LL_TIM_DisableARRPreload(TIM10);
  LL_TIM_OC_EnablePreload(TIM10, LL_TIM_CHANNEL_CH1);
  TIM_OC_InitStruct.OCMode = LL_TIM_OCMODE_PWM1;
  TIM_OC_InitStruct.OCState = LL_TIM_OCSTATE_DISABLE;
  TIM_OC_InitStruct.OCNState = LL_TIM_OCSTATE_DISABLE;
  TIM_OC_InitStruct.CompareValue = 63;
  TIM_OC_InitStruct.OCPolarity = LL_TIM_OCPOLARITY_LOW;
  LL_TIM_OC_Init(TIM10, LL_TIM_CHANNEL_CH1, &TIM_OC_InitStruct);
  LL_TIM_OC_DisableFast(TIM10, LL_TIM_CHANNEL_CH1);
  /* USER CODE BEGIN TIM10_Init 2 */
  LL_TIM_EnableCounter(TIM10);
  /* USER CODE END TIM10_Init 2 */
  LL_AHB1_GRP1_EnableClock(LL_AHB1_GRP1_PERIPH_GPIOB);
  /**TIM10 GPIO Configuration
  PB8   ------> TIM10_CH1
  */
  GPIO_InitStruct.Pin = VSYNCB8_Pin;
  GPIO_InitStruct.Mode = LL_GPIO_MODE_ALTERNATE;
  GPIO_InitStruct.Speed = LL_GPIO_SPEED_FREQ_MEDIUM;
  GPIO_InitStruct.OutputType = LL_GPIO_OUTPUT_PUSHPULL;
  GPIO_InitStruct.Pull = LL_GPIO_PULL_NO;
  GPIO_InitStruct.Alternate = LL_GPIO_AF_3;
  LL_GPIO_Init(VSYNCB8_GPIO_Port, &GPIO_InitStruct);

}

static void MX_TIM11_Init(void)
{

  LL_TIM_InitTypeDef TIM_InitStruct = {0};
  LL_TIM_OC_InitTypeDef TIM_OC_InitStruct = {0};

  LL_GPIO_InitTypeDef GPIO_InitStruct = {0};

  /* Peripheral clock enable */
  LL_APB2_GRP1_EnableClock(LL_APB2_GRP1_PERIPH_TIM11);

  TIM_InitStruct.Prescaler = 83;
  TIM_InitStruct.CounterMode = LL_TIM_COUNTERMODE_UP;
  TIM_InitStruct.Autoreload = 200-LL_TIM_IC_FILTER_FDIV1_N2;
  TIM_InitStruct.ClockDivision = LL_TIM_CLOCKDIVISION_DIV1;
  LL_TIM_Init(TIM11, &TIM_InitStruct);
  LL_TIM_DisableARRPreload(TIM11);
  LL_TIM_OC_EnablePreload(TIM11, LL_TIM_CHANNEL_CH1);
  TIM_OC_InitStruct.OCMode = LL_TIM_OCMODE_PWM1;
  TIM_OC_InitStruct.OCState = LL_TIM_OCSTATE_DISABLE;
  TIM_OC_InitStruct.OCNState = LL_TIM_OCSTATE_DISABLE;
  TIM_OC_InitStruct.CompareValue = 100;
  TIM_OC_InitStruct.OCPolarity = LL_TIM_OCPOLARITY_HIGH;
  LL_TIM_OC_Init(TIM11, LL_TIM_CHANNEL_CH1, &TIM_OC_InitStruct);
  LL_TIM_OC_DisableFast(TIM11, LL_TIM_CHANNEL_CH1);
  /* USER CODE BEGIN TIM11_Init 2 */
  LL_TIM_EnableCounter(TIM11);
  /* USER CODE END TIM11_Init 2 */
  LL_AHB1_GRP1_EnableClock(LL_AHB1_GRP1_PERIPH_GPIOB);
  /**TIM11 GPIO Configuration
  PB9   ------> TIM11_CH1
  */
  GPIO_InitStruct.Pin = TIM11_CH1_AUDIO_BCK_Pin;
  GPIO_InitStruct.Mode = LL_GPIO_MODE_ALTERNATE;
  GPIO_InitStruct.Speed = LL_GPIO_SPEED_FREQ_HIGH;
  GPIO_InitStruct.OutputType = LL_GPIO_OUTPUT_PUSHPULL;
  GPIO_InitStruct.Pull = LL_GPIO_PULL_NO;
  GPIO_InitStruct.Alternate = LL_GPIO_AF_3;
  LL_GPIO_Init(TIM11_CH1_AUDIO_BCK_GPIO_Port, &GPIO_InitStruct);

}

static void MX_DMA_Init(void)
{

  /* Init with LL driver */
  /* DMA controller clock enable */
  LL_AHB1_GRP1_EnableClock(LL_AHB1_GRP1_PERIPH_DMA2);

}

static void MX_GPIO_Init(void)
{
  LL_GPIO_InitTypeDef GPIO_InitStruct = {0};

  /* GPIO Ports Clock Enable */
  LL_AHB1_GRP1_EnableClock(LL_AHB1_GRP1_PERIPH_GPIOC);
  LL_AHB1_GRP1_EnableClock(LL_AHB1_GRP1_PERIPH_GPIOH);
  LL_AHB1_GRP1_EnableClock(LL_AHB1_GRP1_PERIPH_GPIOA);
  LL_AHB1_GRP1_EnableClock(LL_AHB1_GRP1_PERIPH_GPIOB);

  /**/
  LL_GPIO_ResetOutputPin(SD_CS_GPIO_Port, SD_CS_Pin);

  /**/
  LL_GPIO_ResetOutputPin(GPIOA, RGB_LSB_R_Pin|RGB_MSB_R_Pin|RGB_LSB_G_Pin|RGB_MSB_G_Pin
                          |RGB_LSB_B_Pin|RGB_MSB_B_Pin|GPIO_PA10_Pin);

  /**/
  LL_GPIO_ResetOutputPin(Sound_GPIO_Port, Sound_Pin);

  /**/
  LL_GPIO_SetOutputPin(SPI1_CS_GPIO_Port, SPI1_CS_Pin);

  /**/
  GPIO_InitStruct.Pin = SD_CS_Pin;
  GPIO_InitStruct.Mode = LL_GPIO_MODE_OUTPUT;
  GPIO_InitStruct.Speed = LL_GPIO_SPEED_FREQ_LOW;
  GPIO_InitStruct.OutputType = LL_GPIO_OUTPUT_PUSHPULL;
  GPIO_InitStruct.Pull = LL_GPIO_PULL_NO;
  LL_GPIO_Init(SD_CS_GPIO_Port, &GPIO_InitStruct);

  /**/
  GPIO_InitStruct.Pin = RGB_LSB_R_Pin|RGB_MSB_R_Pin|RGB_LSB_G_Pin|RGB_MSB_G_Pin
                          |RGB_LSB_B_Pin|RGB_MSB_B_Pin|SPI1_CS_Pin;
  GPIO_InitStruct.Mode = LL_GPIO_MODE_OUTPUT;
  GPIO_InitStruct.Speed = LL_GPIO_SPEED_FREQ_VERY_HIGH;
  GPIO_InitStruct.OutputType = LL_GPIO_OUTPUT_PUSHPULL;
  GPIO_InitStruct.Pull = LL_GPIO_PULL_NO;
  LL_GPIO_Init(GPIOA, &GPIO_InitStruct);

  /**/
  GPIO_InitStruct.Pin = Sound_Pin;
  GPIO_InitStruct.Mode = LL_GPIO_MODE_OUTPUT;
  GPIO_InitStruct.Speed = LL_GPIO_SPEED_FREQ_MEDIUM;
  GPIO_InitStruct.OutputType = LL_GPIO_OUTPUT_PUSHPULL;
  GPIO_InitStruct.Pull = LL_GPIO_PULL_NO;
  LL_GPIO_Init(Sound_GPIO_Port, &GPIO_InitStruct);

  /**/
  GPIO_InitStruct.Pin = GPIO_PA10_Pin;
  GPIO_InitStruct.Mode = LL_GPIO_MODE_OUTPUT;
  GPIO_InitStruct.Speed = LL_GPIO_SPEED_FREQ_LOW;
  GPIO_InitStruct.OutputType = LL_GPIO_OUTPUT_PUSHPULL;
  GPIO_InitStruct.Pull = LL_GPIO_PULL_NO;
  LL_GPIO_Init(GPIO_PA10_GPIO_Port, &GPIO_InitStruct);

}

/* USER CODE BEGIN 4 */

static inline void update_sign_led(void)
{
    if (sign_positive)
        LL_GPIO_ResetOutputPin(GPIOC, LL_GPIO_PIN_13);   // LED ON
    else
        LL_GPIO_SetOutputPin(GPIOC, LL_GPIO_PIN_13);     // LED OFF
}
#if 0
void USBH_HID_EventCallback(USBH_HandleTypeDef *phost)
{
	if(USBH_HID_GetDeviceType(phost) == HID_MOUSE)  // if the HID is Mouse
	{
		HID_MOUSE_Info_TypeDef *Mouse_Info;
		Mouse_Info = USBH_HID_GetMouseInfo(phost);  // Get the info
		int X_Val = Mouse_Info->x;  // get the x value
		int Y_Val = Mouse_Info->y;  // get the y value
		if (X_Val > 127) X_Val -= 255;
		if (Y_Val > 127) Y_Val -= 255;
		int len = sprintf (Uart_Buf, "X=%d, Y=%d, Button1=%d, Button2=%d, Button3=%d\n", X_Val, Y_Val, \
				                                Mouse_Info->buttons[0],Mouse_Info->buttons[1], Mouse_Info->buttons[2]);
		HAL_UART_Transmit(&huart2, (uint8_t *) Uart_Buf, len, 100);
	}

	if(USBH_HID_GetDeviceType(phost) == HID_KEYBOARD)  // if the HID is Mouse
	{
		uint8_t key;
		HID_KEYBD_Info_TypeDef *Keyboard_Info;
		Keyboard_Info = USBH_HID_GetKeybdInfo(phost);  // get the info
		key = USBH_HID_GetASCIICode(Keyboard_Info);  // get the key pressed

		//int len = sprintf (Uart_Buf, "Key Pressed = %c\n", key);
		//HAL_UART_Transmit(&huart2, (uint8_t *) Uart_Buf, len, 100);
	}
}

void USBH_HID_EventCallback(USBH_HandleTypeDef *phost)
{
    HID_KEYBD_Info_TypeDef *k = USBH_HID_GetKeybdInfo(phost);

    if (k == NULL)
        return;

    uint8_t key = USBH_HID_GetASCIICode(k);

    if (key != 0) {
        Keyboard_HandleKey(key);
    }
}
#endif
void Keyboard_HandleKey(uint8_t key)
{
    switch (key)
    {
        // movement keys
        case 'x':
            TIM3->CCR4 += multiplier;
            video_recompute_vertical_window();
            break;

        case 'z':
            TIM3->CCR4 -= multiplier;
            video_recompute_vertical_window();
            break;
        case 'v':
            TIM3->ARR += multiplier;
            video_recompute_vertical_window();
            break;

        case 'c':
            TIM3->ARR -= multiplier;
            video_recompute_vertical_window();
            break;
        case 'k':
            TIM5->CCR1 += multiplier;
            video_recompute_vertical_window();
            break;

        case 'o':
            TIM5->CCR1 -= multiplier;
            video_recompute_vertical_window();
            break;
        case 'l':
            TIM5->ARR += multiplier;
            video_recompute_vertical_window();
            break;

        case 'p':
            TIM5->ARR -= multiplier;
            video_recompute_vertical_window();
            break;

        // sign keys
        case 'y':
            sign_positive = 1;
            update_sign_led();
            break;

        case 'g':
            sign_positive = 0;
            update_sign_led();
            break;

        // multiplier keys (Shift+1..4)
        case '!':   // Shift+1
            multiplier = 1;
            break;

        case '@':   // Shift+2
            multiplier = 10;
            break;

        case '#':   // Shift+3
            multiplier = 100;
            break;

        case '$':   // Shift+4
            multiplier = 1000;
            break;
        case '%':   // shift+5
			multiplier = 10000;
        	break;
        case 'm':   // Shift+4
        	line_wait ++;
            break;
        case 'n':   // shift+5
        	line_wait --;
        	break;
        case 'b':   // shift+5
        	render_line ^= 1;
        	break;
        case 'h':   // shift+5
        	swap_line ^= 1;
        	break;
        case 'r':   // shift+5
        	margin_lines ++;
        	getTimes();
        	break;
        case 'd':   // shift+5
        	margin_lines --;
        	getTimes();
        	break;
        case '\t':   // TAB key
            //osd_enabled ^= 1;   // toggle
            break;

        default:
            break;
    }
}

void getTimes(void)
{
	t5_cnt   = TIM5->CNT;
	activeFstart  = TIM5->CCR1;     // start of active frame (in TIM5 ticks)
	activeFend    = TIM5->ARR;      // end of active frame (in TIM5 ticks)
	one_line = (TIM4->ARR + 1);     // ticks per line
	margin   = margin_lines * one_line;        // 2 lines before active
}

#if 0
static inline uint8_t Buttons_ReadRaw(void)
{

	uint8_t data = 0;
    // 1. Pulse S/L low → high to latch parallel inputs
    LL_GPIO_ResetOutputPin(SPI1_CS_GPIO_Port, SPI1_CS_Pin);
    // tiny delay to satisfy t_w (not strictly required on STM32)
    __NOP(); __NOP();
    LL_GPIO_SetOutputPin(SPI1_CS_GPIO_Port, SPI1_CS_Pin);

    // 2. Shift out 8 bits via SPI1
    while(!LL_SPI_IsActiveFlag_TXE(SPI1));
    // Write dummy byte to trigger 8 clocks
    LL_SPI_TransmitData8(SPI1, 0xFF);

    // Wait for RXNE
    while (!LL_SPI_IsActiveFlag_RXNE(SPI1));

    // Read received byte
    data = LL_SPI_ReceiveData8(SPI1);
    return data;
}

uint8_t Buttons_Get(void)
{
    uint8_t raw = Buttons_ReadRaw();

    if (raw == btn_last_raw) {
        if (btn_counter < BTN_STABLE_COUNT)
            btn_counter++;

        if (btn_counter == BTN_STABLE_COUNT)
            btn_stable = raw;
    } else {
        btn_counter = 0;
        btn_last_raw = raw;
    }

    // Return active‑high (1 = pressed)
    return (uint8_t)(~btn_stable);
}

static inline int get_multiplier(uint8_t b)
{
    if (button_repeat(b, BIT_B)) {
        step_index++;
        if (step_index >= (sizeof(step_table)/sizeof(step_table[0])))
            step_index = 0;
    }
    return step_table[step_index];
}

static inline uint8_t button_repeat(uint8_t b, int bit)
{
    if (!(b & (1 << bit))) {
        // not pressed
        last_press_time[bit] = 0;
        return 0;
    }

    uint32_t now = HAL_GetTick();

    if (last_press_time[bit] == 0) {
        last_press_time[bit] = now;
        return 1; // initial press
    }

    if ((now - last_press_time[bit]) >= REPEAT_DELAY_MS) {
        last_press_time[bit] = now;
        return 1; // repeated press
    }

    return 0;
}
static inline void update_sign_led(void)
{
    if (sign_positive)
        LL_GPIO_ResetOutputPin(GPIOC, LL_GPIO_PIN_13);   // LED ON
    else
        LL_GPIO_SetOutputPin(GPIOC, LL_GPIO_PIN_13);     // LED OFF
}
void Tuning_Update(void)
{
    uint8_t b = Buttons_Get();   // active‑high
     // 1, 10, or 100

    // Toggle +/− with centre button (G)
    if (button_repeat(b, BIT_G)) {
        sign_positive ^= 1;
        update_sign_led();
    }

    int mul = get_multiplier(b);
    int delta = sign_positive ? mul : -mul;

    // T3 CCR (E)
    if (button_repeat(b, BIT_E)) {
        TIM3->CCR1 += delta;
    }

    // T3 ARR (H)
    if (button_repeat(b, BIT_H)) {
        TIM3->ARR += delta;
    }

    // T5 CCR (F)
    if (button_repeat(b, BIT_F)) {
        TIM5->CCR1 += delta;
    }

    // T5 ARR (C)
    if (button_repeat(b, BIT_C)) {
        TIM5->ARR += delta;
    }
}
#endif

/* USER CODE END 4 */

void Error_Handler(void)
{
  __disable_irq();
  while (1)
  {
  }
}
